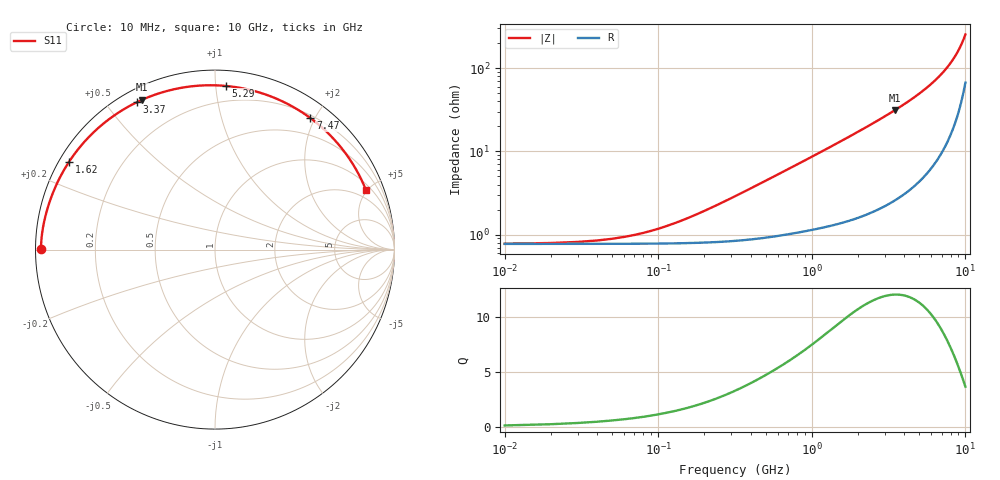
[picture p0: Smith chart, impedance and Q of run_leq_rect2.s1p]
#  Hz  S  RI  R  50
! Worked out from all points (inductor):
!   1000 points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, 10 MHz to 10 GHz, reference 50 ohm
!   read as one part to ground: L = 1.38 nH near 290 MHz
!   highest Q = 12.1 at 3.49 GHz (marker M1), where L = 1.43 nH
!   S11 on the Smith chart (normalised r, x): 10 MHz: 0.02, +0.00; 1.62 GHz: 0.03, +0.28; 3.37 GHz: 0.05, +0.60; 5.29 GHz: 0.10, +1.06; 7.47 GHz: 0.24, +1.94; 10 GHz: 1.34, +4.88
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1e7  -0.9695 0.00342
6e7  -0.9692 0.0205
2.8e8  -0.9628 0.0947
5.8e8  -0.9436 0.1913
9.2e8  -0.9114 0.2943
1.26e9  -0.8693 0.3914
1.62e9  -0.8145 0.4872
2.07e9  -0.7324 0.5952
2.51e9  -0.6401 0.6865
2.94e9  -0.541 0.7613
3.37e9  -0.4354 0.8212
3.49e9  -0.405 0.8352
3.76e9  -0.3359 0.8626
4.07e9  -0.2554 0.8869
4.38e9  -0.1744 0.9037
4.69e9  -0.0938 0.9131
5.01e9  -0.0116 0.9156
5.29e9  0.0591 0.912
5.77e9  0.1762 0.894
6.26e9  0.2892 0.8617
6.84e9  0.4124 0.8076
7.47e9  0.5315 0.7327
7.51e9  0.5385 0.7275
8.14e9  0.64 0.6387
8.76e9  0.7232 0.5421
9.39e9  0.7908 0.4378
9.73e9  0.8204 0.3798
1e10  0.8405 0.3334
